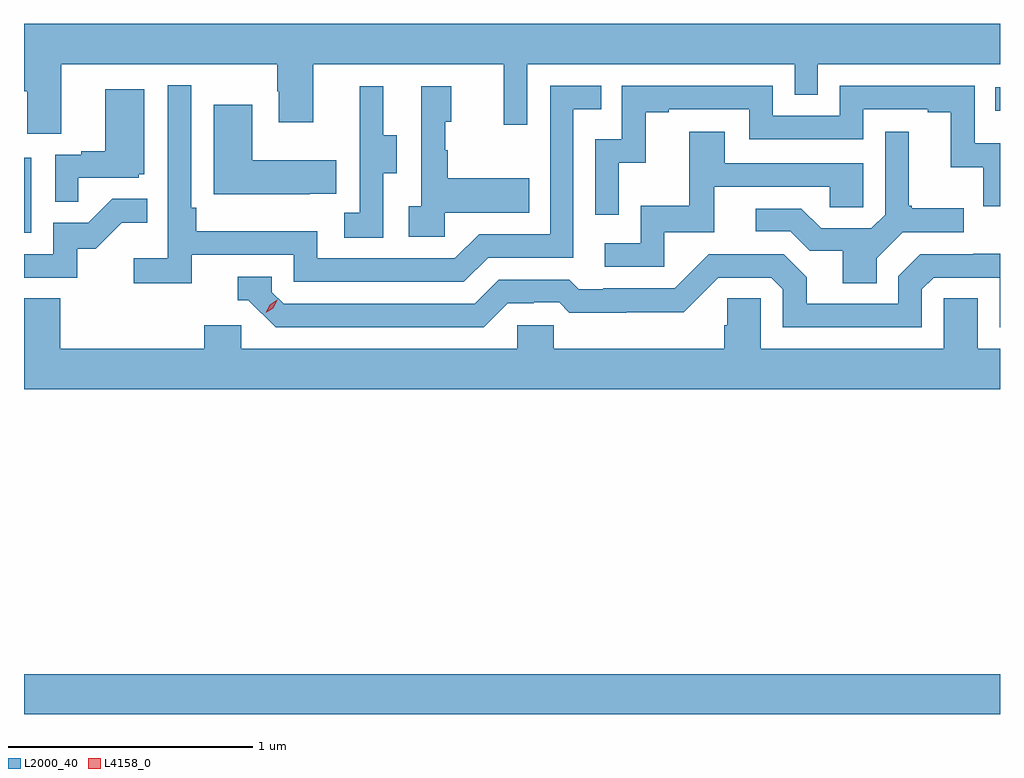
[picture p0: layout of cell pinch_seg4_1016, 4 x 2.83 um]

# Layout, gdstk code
import gdstk
lib = gdstk.Library(unit=1e-6, precision=1e-09)
def R(c, l, rs):  # rectangles x0, y0, x1, y1
    for r in rs: c.add(gdstk.rectangle(r[:2], r[2:], *l))
def P(c, l, *ps):  # polygons
    for p in ps: c.add(gdstk.Polygon(p, *l))
L2000_40 = (2000, 40)
L4158_0 = (4158, 0)

pinch_seg4_1016 = lib.new_cell('pinch_seg4_1016')
R(pinch_seg4_1016, L2000_40, [(805.036,766.184,809.036,766.348), (805.036,768.156,805.066,768.463), (809.017,768.656,809.036,768.753)])
P(pinch_seg4_1016, L2000_40, [(805.189,768.848),(806.074,768.848),(806.074,768.737),(806.081,768.737),(806.081,768.609),(806.221,768.609),(806.221,768.848),(807.002,768.848),(807.002,768.6),(807.099,768.6),(807.099,768.848),(808.194,768.848),(808.194,768.721),(808.29,768.721),(808.29,768.848),(809.036,768.848),(809.036,769.012),(805.036,769.012),(805.036,768.848),(805.037,768.848),(805.037,768.736),(805.049,768.736),(805.049,768.562),(805.189,768.562)],
  [(805.724,768.066),(806.142,768.066),(806.142,767.955),(806.839,767.955),(806.938,768.054),(807.288,768.054),(807.288,768.663),(807.401,768.663),(807.401,768.759),(807.192,768.759),(807.192,768.15),(806.901,768.15),(806.802,768.051),(806.238,768.051),(806.238,768.163),(805.742,768.163),(805.742,768.259),(805.722,768.259),(805.722,768.76),(805.626,768.76),(805.626,768.052),(805.485,768.052),(805.485,767.95),(805.724,767.95)],
  [(807.474,768.443),(807.584,768.443),(807.584,768.651),(807.679,768.651),(807.679,768.663),(808.008,768.663),(808.008,768.54),(808.476,768.54),(808.476,768.663),(808.739,768.663),(808.739,768.651),(808.835,768.651),(808.835,768.425),(808.968,768.425),(808.968,768.264),(809.036,768.264),(809.036,768.523),(808.932,768.523),(808.932,768.759),(808.38,768.759),(808.38,768.636),(808.104,768.636),(808.104,768.759),(807.486,768.759),(807.486,768.54),(807.378,768.54),(807.378,768.231),(807.474,768.231)],
  [(806.76,768.239),(807.107,768.239),(807.107,768.379),(806.773,768.379),(806.773,768.494),(806.763,768.494),(806.763,768.612),(806.788,768.612),(806.788,768.757),(806.664,768.757),(806.664,768.266),(806.613,768.266),(806.613,768.141),(806.76,768.141)],
  [(806.508,768.4),(806.563,768.4),(806.563,768.555),(806.509,768.555),(806.509,768.757),(806.411,768.757),(806.411,768.543),(806.412,768.543),(806.412,768.239),(806.349,768.239),(806.349,768.136),(806.508,768.136)],
  [(805.259,768.381),(805.506,768.381),(805.506,768.396),(805.528,768.396),(805.528,768.745),(805.37,768.745),(805.37,768.49),(805.271,768.49),(805.271,768.477),(805.164,768.477),(805.164,768.283),(805.259,768.283)],
  [(806.207,768.317),(806.315,768.317),(806.315,768.454),(805.972,768.454),(805.972,768.682),(805.814,768.682),(805.814,768.314),(806.207,768.314)],
  [(807.66,768.159),(807.865,768.159),(807.865,768.345),(808.339,768.345),(808.339,768.261),(808.476,768.261),(808.476,768.441),(807.907,768.441),(807.907,768.571),(807.763,768.571),(807.763,768.268),(807.564,768.268),(807.564,768.114),(807.417,768.114),(807.417,768.018),(807.66,768.018)],
  [(808.531,768.052),(808.638,768.159),(808.888,768.159),(808.888,768.256),(808.675,768.256),(808.675,768.268),(808.663,768.268),(808.663,768.571),(808.566,768.571),(808.566,768.231),(808.509,768.174),(808.303,768.174),(808.222,768.255),(808.035,768.255),(808.035,768.162),(808.176,768.162),(808.256,768.082),(808.391,768.082),(808.391,767.95),(808.531,767.95)],
  [(805.254,768.09),(805.33,768.09),(805.437,768.197),(805.541,768.197),(805.541,768.296),(805.397,768.296),(805.299,768.198),(805.155,768.198),(805.155,768.069),(805.036,768.069),(805.036,767.973),(805.254,767.973)],
  [(807.019,767.868),(807.126,767.868),(807.126,767.871),(807.229,767.871),(807.271,767.829),(807.504,767.829),(807.504,767.831),(807.74,767.831),(807.882,767.973),(808.098,767.973),(808.146,767.925),(808.146,767.769),(808.716,767.769),(808.716,767.925),(808.764,767.973),(809.034,767.973),(809.034,767.769),(809.036,767.769),(809.036,768.071),(808.926,768.071),(808.926,768.069),(808.71,768.069),(808.62,767.979),(808.62,767.865),(808.243,767.865),(808.243,767.975),(808.149,768.069),(807.843,768.069),(807.702,767.928),(807.409,767.928),(807.409,767.925),(807.31,767.925),(807.271,767.964),(806.982,767.964),(806.883,767.865),(806.1,767.865),(806.052,767.913),(806.052,767.976),(805.913,767.976),(805.913,767.88),(805.956,767.88),(806.067,767.769),(806.92,767.769)],
  [(809.036,767.68),(808.945,767.68),(808.945,767.888),(808.806,767.888),(808.806,767.68),(808.056,767.68),(808.056,767.888),(807.919,767.888),(807.919,767.778),(807.905,767.778),(807.905,767.68),(807.207,767.68),(807.207,767.778),(807.057,767.778),(807.057,767.68),(805.926,767.68),(805.926,767.778),(805.775,767.778),(805.775,767.68),(805.184,767.68),(805.184,767.888),(805.036,767.888),(805.036,767.516),(809.036,767.516)])
P(pinch_seg4_1016, L4158_0, [(806.027,767.829),(806.027,767.829),(806.043,767.862),(806.074,767.881),(806.074,767.881),(806.074,767.88),(806.058,767.848),(806.027,767.829)])

lib.write_gds('pinch_seg4_1016.gds')
